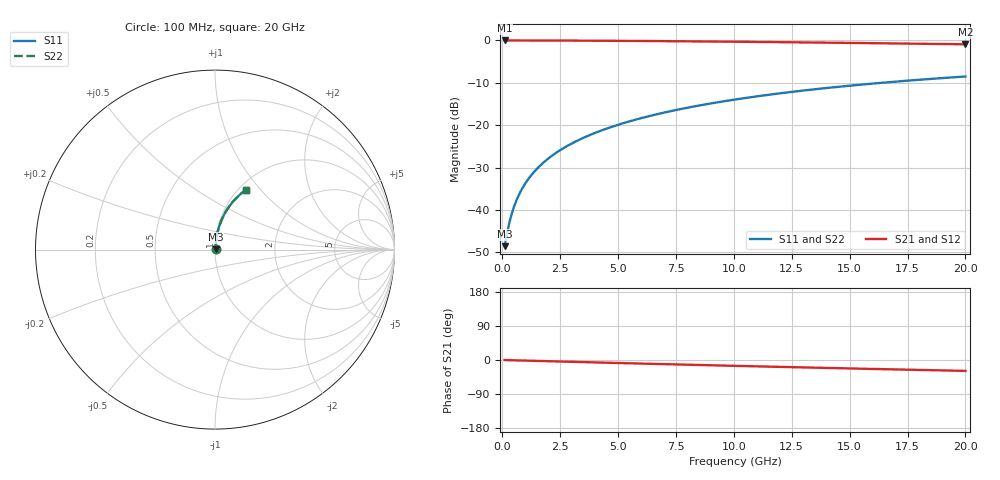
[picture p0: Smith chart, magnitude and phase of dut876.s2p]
! Touchstone file exported from HFSS 2024.1.0
!  File:  C:/UserFiles/LocalFiles/RDL_TSV_Batchsim/temp_RDL_top_876_1779856606.aedt
!  Generated:  12:39:06 PM May 27, 2026
!  Design:  RDL_top
!  Project:  temp_RDL_top_876_1779856606
!  Setup:  Setup1
!  Solution:  Sweep
! Variables:
!  dtsv = 10.80580581um
!  hbump = 3um
!  htsv = 53.89um
!  ldown = 100um
!  lrdl = 313.54um
!  p = 40
!  p1 = 53.11um
!  rhole = 1um
!  t = 450um
!  tdown = 3.915915916um
!  trdl = 3.53um
!  wdown = 15.38538539um
!  wrdl = 10.46um
# GHz S MA R 50.000000
! Terminal data exported
! Port[1] = Box2_T1
! Port[2] = Box2_T2
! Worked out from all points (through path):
!   200 points, 100 MHz to 20 GHz, reference 50 ohm
!   highest |S21| = -0.03 dB at 100 MHz (marker M1); lowest = -0.9 dB at 20 GHz (marker M2)
!   group delay of S21, straight-line fit = 3.99 ps
!   lowest |S11| = -48.6 dB at 100 MHz (marker M3), VSWR 1.01, Z = 50.3 + j0.208 ohm
!   |S11| at or under -10 dB: start of sweep to 16.42 GHz
!   |S22| runs from -48.6 to -8.5 dB; largest |S21 - S12| = 4.3e-15
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0.1  0.003733 33.7  0.9969 -0.2  0.9969 -0.2  0.003733 33.7
! Gamma 0 0 0 0
! Port Impedance 50 0 50 0
0.2  0.005193 52.7  0.9969 -0.3  0.9969 -0.3  0.005193 52.7
0.3  0.006964 62.6  0.9968 -0.5  0.9968 -0.5  0.006964 62.6
0.4  0.008851 68.3  0.9967 -0.7  0.9967 -0.7  0.008851 68.3
0.5  0.01079 71.9  0.9967 -0.8  0.9967 -0.8  0.01079 71.9
0.6  0.01274 74.3  0.9966 -1.0  0.9966 -1.0  0.01274 74.3
0.8  0.01669 77.4  0.9964 -1.3  0.9964 -1.3  0.01669 77.4
1.1  0.02264 80.0  0.9961 -1.8  0.9961 -1.8  0.02264 80.0
1.5  0.03062 81.6  0.9956 -2.4  0.9956 -2.4  0.03062 81.6
1.8  0.03663 82.2  0.9952 -2.9  0.9952 -2.9  0.03663 82.2
2.1  0.04264 82.6  0.9947 -3.4  0.9947 -3.4  0.04264 82.6
2.7  0.05469 82.8  0.9935 -4.3  0.9935 -4.3  0.05469 82.8
3.5  0.07077 82.6  0.9916 -5.6  0.9916 -5.6  0.07077 82.6
4.2  0.08484 82.1  0.9896 -6.7  0.9896 -6.7  0.08484 82.1
5  0.1009 81.4  0.9869 -7.9  0.9869 -7.9  0.1009 81.4
5.9  0.1189 80.5  0.9834 -9.3  0.9834 -9.3  0.1189 80.5
6.8  0.1368 79.5  0.9796 -10.7  0.9796 -10.7  0.1368 79.5
8.3  0.1665 77.6  0.9725 -12.9  0.9725 -12.9  0.1665 77.6
10.1  0.2014 75.4  0.9629 -15.5  0.9629 -15.5  0.2014 75.4
13.4  0.2631 71.0  0.9433 -20.1  0.9433 -20.1  0.2631 71.0
16.7  0.3211 66.8  0.9214 -24.5  0.9214 -24.5  0.321 66.8
20  0.3747 62.6  0.8981 -28.7  0.8981 -28.7  0.3747 62.6
